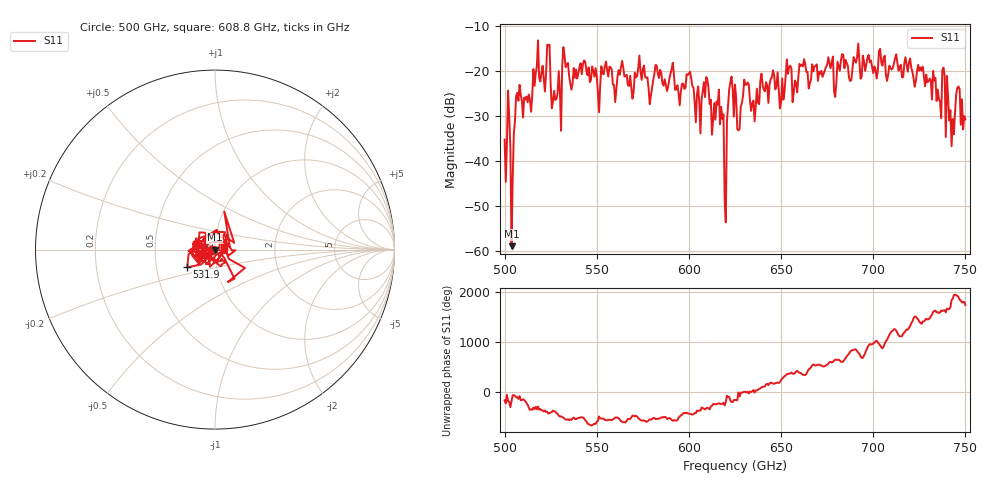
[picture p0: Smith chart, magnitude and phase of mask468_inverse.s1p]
!Created with skrf (http://scikit-rf.org).
# GHz S MA R 50.0
!freq magS11 angS11
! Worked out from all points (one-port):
!   401 points, 500 GHz to 750 GHz, reference 50 ohm
!   lowest |S11| = -58.9 dB at 503.8 GHz (marker M1), VSWR 1.00, Z = 49.9 + j0.00355 ohm
!   |S11| at or under -10 dB: start of sweep to end of sweep
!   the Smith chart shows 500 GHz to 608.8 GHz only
!   S11 on the Smith chart (normalised r, x): 500 GHz: 0.97, -0.01; 531.9 GHz: 0.72, -0.15; 608.8 GHz: 1.10, +0.03
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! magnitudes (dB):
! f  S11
! 500 GHz  -35.2
! 501.9 GHz  -24.3
! 503.8 GHz  -58.9
! 507.5 GHz  -26.6
! 513.8 GHz  -26.5
! 516.9 GHz  -20.6
! 523.8 GHz  -14.2
! 526.9 GHz  -24.4
! 531.2 GHz  -18.9
! 531.9 GHz  -14.7
! 562.5 GHz  -20.8
! 593.8 GHz  -23.2
! 600 GHz  -20.6
! 605 GHz  -23.4
! 608.8 GHz  -25.8
! 617.5 GHz  -28.0
! 619.4 GHz  -48.4
! 620.6 GHz  -31.2
! 622.5 GHz  -22.5
! 625 GHz  -23.0
! 656.2 GHz  -26.9
! 687.5 GHz  -22.2
! 718.8 GHz  -20.2
! 735.6 GHz  -26.2
! 738.8 GHz  -21.1
! 742.5 GHz  -36.7
! 745.6 GHz  -23.7
! 750 GHz  -30.7
